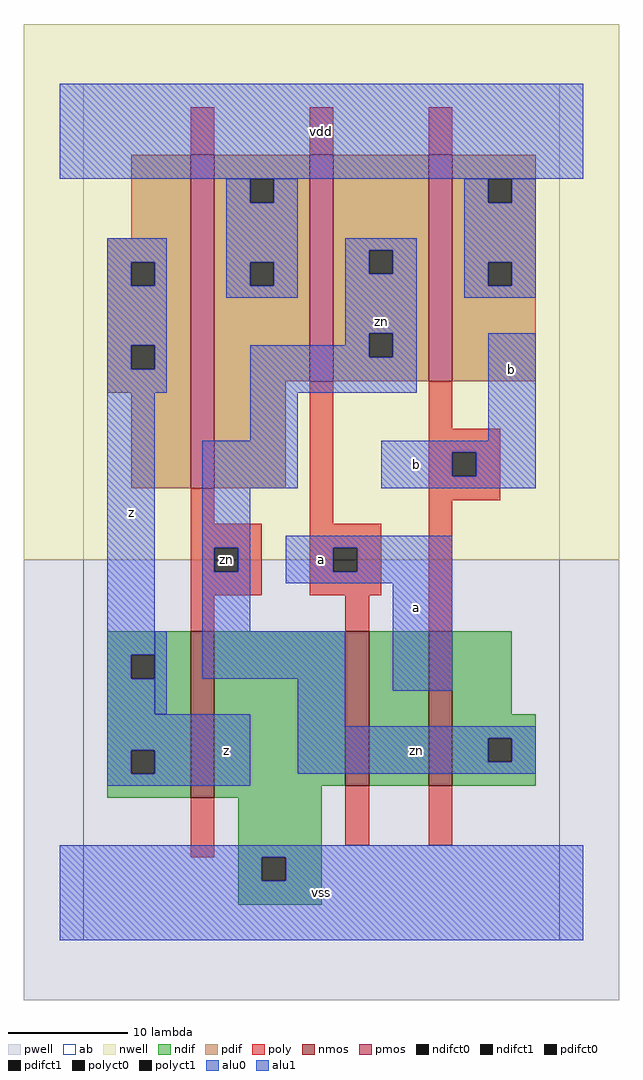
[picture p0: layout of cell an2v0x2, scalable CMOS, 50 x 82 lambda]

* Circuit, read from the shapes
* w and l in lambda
.subckt an2v0x2 a b vdd vss z zn
M1 vss zn z VSUBS nfet w=14 l=2
M2 n1 a vss VSUBS nfet w=13 l=2
M3 zn b n1 VSUBS nfet w=13 l=2
M4 vdd zn z n2 pfet w=28 l=2
M5 zn a vdd n2 pfet w=19 l=2
M6 vdd b zn n2 pfet w=19 l=2
.ends

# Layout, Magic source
magic
tech scmos
<< ab >>
rect 0 0 40 72
<< nwell >>
rect -5 32 45 77
<< pwell >>
rect -5 -5 45 32
<< poly >>
rect 9 66 11 70
rect 19 66 21 70
rect 29 66 31 70
rect 9 35 11 38
rect 19 35 21 47
rect 29 43 31 47
rect 29 41 35 43
rect 29 39 31 41
rect 33 39 35 41
rect 29 37 35 39
rect 9 33 15 35
rect 9 31 11 33
rect 13 31 15 33
rect 9 29 15 31
rect 19 33 25 35
rect 19 31 21 33
rect 23 31 25 33
rect 19 29 25 31
rect 9 26 11 29
rect 22 26 24 29
rect 29 26 31 37
rect 9 7 11 12
rect 22 8 24 13
rect 29 8 31 13
<< ndif >>
rect 2 24 9 26
rect 2 22 4 24
rect 6 22 9 24
rect 2 16 9 22
rect 2 14 4 16
rect 6 14 9 16
rect 2 12 9 14
rect 11 13 22 26
rect 24 13 29 26
rect 31 19 36 26
rect 31 17 38 19
rect 31 15 34 17
rect 36 15 38 17
rect 31 13 38 15
rect 11 12 20 13
rect 13 7 20 12
rect 13 5 15 7
rect 17 5 20 7
rect 13 3 20 5
<< pdif >>
rect 4 59 9 66
rect 2 57 9 59
rect 2 55 4 57
rect 6 55 9 57
rect 2 50 9 55
rect 2 48 4 50
rect 6 48 9 50
rect 2 46 9 48
rect 4 38 9 46
rect 11 64 19 66
rect 11 62 14 64
rect 16 62 19 64
rect 11 57 19 62
rect 11 55 14 57
rect 16 55 19 57
rect 11 47 19 55
rect 21 58 29 66
rect 21 56 24 58
rect 26 56 29 58
rect 21 51 29 56
rect 21 49 24 51
rect 26 49 29 51
rect 21 47 29 49
rect 31 64 38 66
rect 31 62 34 64
rect 36 62 38 64
rect 31 57 38 62
rect 31 55 34 57
rect 36 55 38 57
rect 31 47 38 55
rect 11 38 17 47
<< alu1 >>
rect -2 64 42 72
rect 2 57 7 59
rect 2 55 4 57
rect 6 55 7 57
rect 2 50 7 55
rect 2 48 4 50
rect 6 48 7 50
rect 2 46 7 48
rect 2 24 6 46
rect 34 42 38 51
rect 25 41 38 42
rect 25 39 31 41
rect 33 39 38 41
rect 25 38 38 39
rect 17 33 31 34
rect 17 31 21 33
rect 23 31 31 33
rect 17 30 31 31
rect 2 22 4 24
rect 2 19 6 22
rect 2 16 14 19
rect 2 14 4 16
rect 6 14 14 16
rect 26 21 31 30
rect 2 13 14 14
rect -2 7 42 8
rect -2 5 15 7
rect 17 5 42 7
rect -2 0 42 5
<< nmos >>
rect 9 12 11 26
rect 22 13 24 26
rect 29 13 31 26
<< pmos >>
rect 9 38 11 66
rect 19 47 21 66
rect 29 47 31 66
<< polyct0 >>
rect 11 31 13 33
<< polyct1 >>
rect 31 39 33 41
rect 21 31 23 33
<< ndifct0 >>
rect 34 15 36 17
<< ndifct1 >>
rect 4 22 6 24
rect 4 14 6 16
rect 15 5 17 7
<< pdifct0 >>
rect 14 62 16 64
rect 14 55 16 57
rect 24 56 26 58
rect 24 49 26 51
rect 34 62 36 64
rect 34 55 36 57
<< pdifct1 >>
rect 4 55 6 57
rect 4 48 6 50
<< alu0 >>
rect 12 62 14 64
rect 16 62 18 64
rect 12 57 18 62
rect 32 62 34 64
rect 36 62 38 64
rect 12 55 14 57
rect 16 55 18 57
rect 12 54 18 55
rect 22 58 28 59
rect 22 56 24 58
rect 26 56 28 58
rect 22 51 28 56
rect 32 57 38 62
rect 32 55 34 57
rect 36 55 38 57
rect 32 54 38 55
rect 22 50 24 51
rect 14 49 24 50
rect 26 49 28 51
rect 14 46 28 49
rect 14 42 18 46
rect 10 38 18 42
rect 10 33 14 38
rect 10 31 11 33
rect 13 31 14 33
rect 10 26 14 31
rect 6 19 7 26
rect 10 22 22 26
rect 18 18 22 22
rect 18 17 38 18
rect 18 15 34 17
rect 36 15 38 17
rect 18 14 38 15
<< labels >>
rlabel polyct0 12 32 12 32 6 zn
rlabel alu0 28 16 28 16 6 zn
rlabel alu0 25 52 25 52 6 zn
rlabel alu1 4 36 4 36 6 z
rlabel alu1 12 16 12 16 6 z
rlabel alu1 20 4 20 4 6 vss
rlabel alu1 20 32 20 32 6 a
rlabel alu1 28 28 28 28 6 a
rlabel alu1 28 40 28 40 6 b
rlabel alu1 20 68 20 68 6 vdd
rlabel alu1 36 48 36 48 6 b
<< end >>
